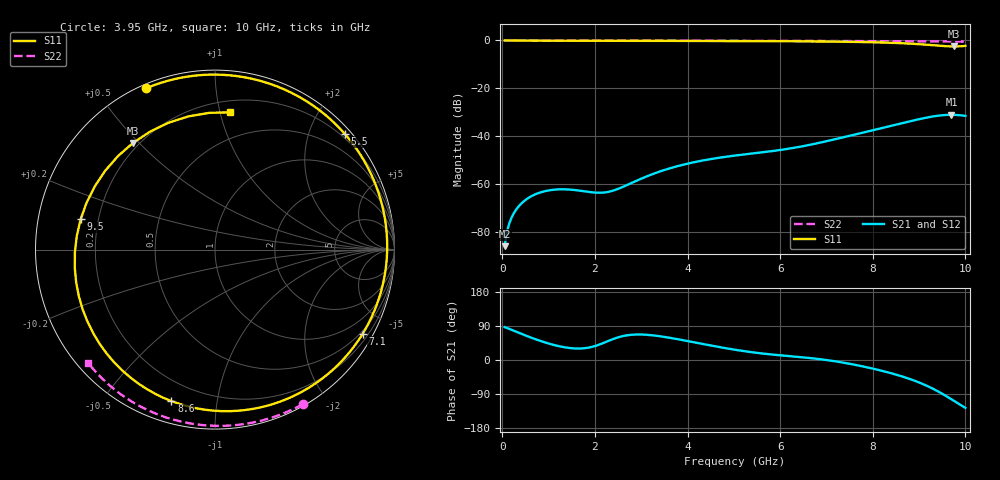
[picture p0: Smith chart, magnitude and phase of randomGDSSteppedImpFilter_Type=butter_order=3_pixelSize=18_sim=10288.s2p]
! freq	dB(S11)	phase(S11)	dB(S12)	phase(S12)
!  dB(S21)	phase(S21)	dB(S22)	phase(S22)
!S-par simulation data
#  GHz  S  DB  R 50
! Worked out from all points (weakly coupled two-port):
!   200 points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, 50 MHz to 10 GHz, reference 50 ohm
!   highest |S21| = -31.08 dB at 9.7 GHz (marker M1); lowest = -86.0 dB at 50 MHz (marker M2)
!   lowest |S11| = -2.5 dB at 9.75 GHz (marker M3), VSWR 6.99, Z = 8.84 + j24 ohm
!   |S11| at or under -10 dB: nowhere
!   |S22| runs from -0.5 to 0.0 dB; largest |S21 - S12| = 0
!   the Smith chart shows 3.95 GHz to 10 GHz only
!   S11 on the Smith chart (normalised r, x): 3.95 GHz: 0.02, +0.66; 5.5 GHz: 0.12, +2.62; 7.1 GHz: 0.41, -3.72; 8.6 GHz: 0.10, -0.75; 9.5 GHz: 0.13, +0.11; 10 GHz: 0.29, +1.08
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0.05  -0.00 -4.5  -85.98 86.9  -85.98 86.9  -0.00 -0.8
0.4  -0.05 -35.1  -68.38 69.6  -68.38 69.6  -0.01 -6.4
0.85  -0.09 -72.0  -63.35 49.2  -63.35 49.2  -0.02 -13.5
1.25  -0.11 -101.6  -62.22 35.7  -62.22 35.7  -0.03 -19.8
1.75  -0.13 -134.2  -62.99 30.8  -62.99 30.8  -0.04 -27.6
2.55  -0.15 -179.0  -61.65 61.5  -61.65 61.5  -0.05 -39.8
3.4  -0.18 138.9  -54.78 62.7  -54.78 62.7  -0.07 -52.5
3.95  -0.20 113.0  -51.72 51.2  -51.72 51.2  -0.08 -60.4
4.5  -0.22 87.5  -49.58 38.3  -49.58 38.3  -0.10 -68.2
5.05  -0.25 62.2  -48.05 26.6  -48.05 26.6  -0.12 -75.9
5.5  -0.27 41.8  -47.01 18.8  -47.01 18.8  -0.13 -82.0
6.1  -0.32 14.8  -45.50 11.3  -45.50 11.3  -0.16 -89.9
6.7  -0.40 -12.0  -43.39 4.4  -43.39 4.4  -0.19 -97.7
7.1  -0.47 -29.8  -41.67 -1.8  -41.67 -1.8  -0.21 -102.8
7.8  -0.67 -62.1  -38.47 -17.3  -38.47 -17.3  -0.26 -111.5
8.35  -0.94 -90.8  -35.91 -33.4  -35.91 -33.4  -0.30 -118.3
8.6  -1.13 -106.1  -34.73 -42.1  -34.73 -42.1  -0.33 -121.3
9.05  -1.62 -140.7  -32.69 -61.8  -32.69 -61.8  -0.37 -126.8
9.5  -2.30 167.3  -31.25 -89.1  -31.25 -89.1  -0.41 -132.2
9.7  -2.49 136.1  -31.08 -103.7  -31.08 -103.7  -0.44 -134.6
9.75  -2.50 127.6  -31.09 -107.5  -31.09 -107.5  -0.44 -135.2
10  -2.27 83.6  -31.53 -126.4  -31.53 -126.4  -0.47 -138.2
